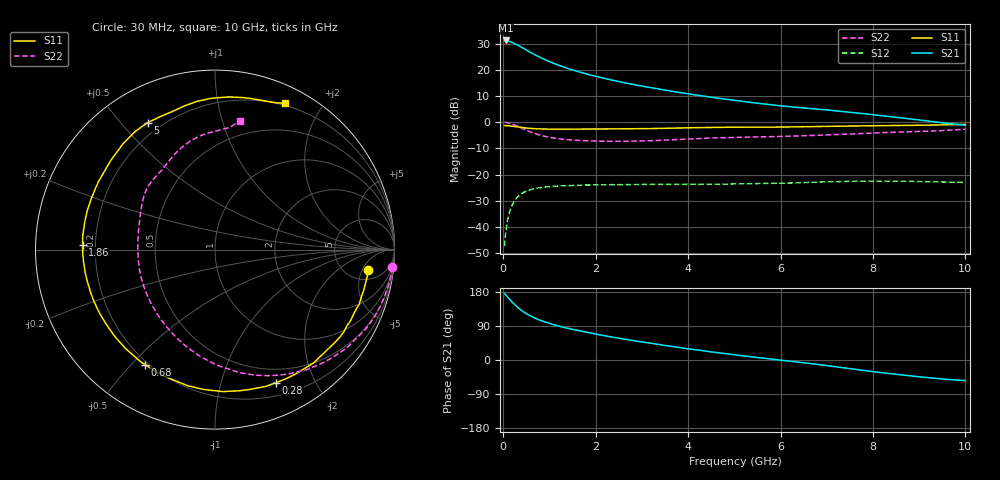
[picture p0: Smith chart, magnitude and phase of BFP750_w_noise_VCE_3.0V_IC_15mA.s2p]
! Infineon Technologies  Discrete & RF Semiconductors
! BFP750
! VCE =  3.0 V,  IC =  15 mA
! Common Emitter S-Parameters:  Jan 2016
# GHz  S  MA  R  50
!  f  S11  S21  S12  S22
! GHz  MAG  ANG  MAG  ANG  MAG  ANG  MAG  ANG
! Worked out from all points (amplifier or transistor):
!   229 points, 30 MHz to 10 GHz, reference 50 ohm
!   highest |S21| = 31.2 dB at 50 MHz (marker M1)
!   |S21| within 3 dB of that: start of sweep to 436.3 MHz
!   unconditionally stable (mu >= 1): 5.04 GHz to end of sweep
!   at 280 MHz: K = 0.09, MSG = 29.5 dB, |S12| = -29.2 dB
!   at 1.78 GHz: K = 0.44, MSG = 21.2 dB, |S12| = -24.0 dB
!   at 10 GHz: K = 1.11, MAG = 8.9 dB, |S12| = -23.0 dB
!   lowest NFmin = 0.69 dB at 450 MHz
!   S11 on the Smith chart (normalised r, x): 30 MHz: 7.42, -6.57; 280 MHz: 0.34, -1.50; 680 MHz: 0.19, -0.55; 1.86 GHz: 0.15, +0.02; 5 GHz: 0.15, +0.59; 10 GHz: 0.17, +1.58
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0.03  0.8601 -7.7  36 175.4  0.0043 84.4  0.991 -5.6
0.05  0.8594 -13.0  36.15 172.0  0.0074 81.3  0.9895 -9.5
0.08  0.8589 -20.6  35.82 168.2  0.0116 79.2  0.9813 -15.2
0.16  0.8412 -39.7  34.1 157.0  0.0221 68.9  0.9404 -29.7
0.2  0.837 -48.9  33.04 151.7  0.0268 64.6  0.9165 -36.7
0.28  0.8152 -65.4  30.54 142.4  0.0346 56.3  0.8557 -49.3
0.34  0.8023 -76.6  28.59 136.0  0.0395 50.9  0.8106 -58.2
0.45  0.7821 -94.3  25.19 125.9  0.0462 42.7  0.7333 -72.5
0.6  0.76 -113.3  21.16 115.3  0.0519 34.2  0.645 -88.9
0.68  0.75 -121.4  19.41 110.8  0.054 30.6  0.6075 -96.2
0.88  0.7387 -137.8  15.89 101.2  0.0575 23.9  0.5406 -112.2
1.08  0.7338 -150.4  13.36 93.5  0.0596 19.1  0.4985 -125.2
1.38  0.7328 -164.9  10.69 84.1  0.0616 13.9  0.4633 -140.9
1.7  0.7368 -177.0  8.786 75.6  0.0628 9.7  0.445 -154.2
1.86  0.7386 177.9  8.038 71.7  0.0633 8.0  0.4395 -159.9
2.6  0.7452 158.4  5.677 55.4  0.0644 1.8  0.4306 177.6
3.4  0.7596 141.6  4.226 40.4  0.065 -3.0  0.4488 159.8
5  0.8009 118.0  2.606 13.7  0.0659 -9.3  0.5133 137.0
5.1  0.8003 116.8  2.54 12.4  0.0661 -9.6  0.5145 135.8
6.8  0.825 99.2  1.767 -11.6  0.0717 -15.8  0.5615 116.3
8.4  0.8612 79.5  1.266 -36.3  0.0748 -26.9  0.6393 97.4
10  0.9053 64.3  0.87 -54.4  0.0705 -35.8  0.7327 79.0
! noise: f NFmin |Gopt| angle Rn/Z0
0.45  0.69  0.06  7  1.18
0.9  0.7  0.06  10  0.61
1.5  0.71  0.07  107  0.34
1.9  0.73  0.11  148  0.12
2.4  0.79  0.15  -179  0.07
3.5  1.05  0.24  -154  0.05
